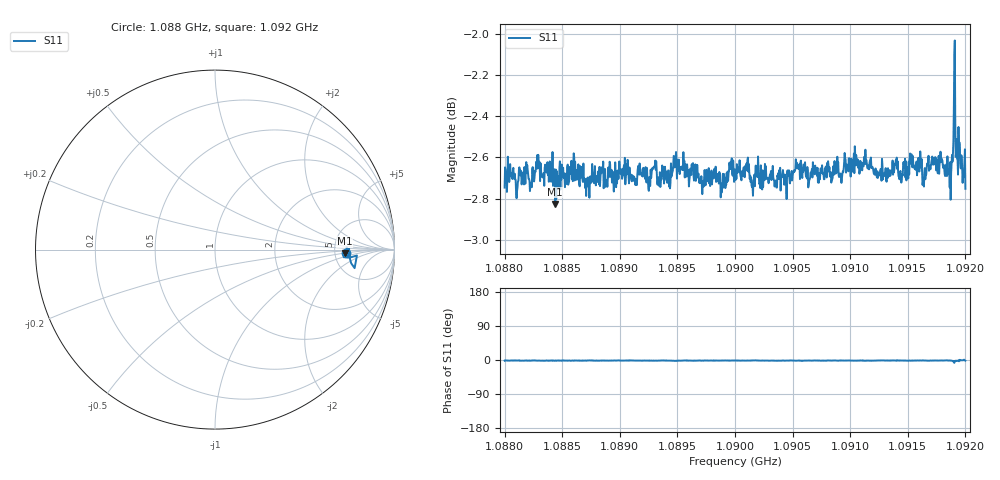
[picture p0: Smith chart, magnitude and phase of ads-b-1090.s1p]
! Calibrated averaged scanner-service zoom
# Hz S RI R 50
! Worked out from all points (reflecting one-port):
!   1001 points, 1.088 GHz to 1.092 GHz, reference 50 ohm
!   lowest |S11| = -2.8 dB at 1.08844 GHz (marker M1), VSWR 6.20, Z = 308 - j27.5 ohm
!   phase of S11 starts at -2 deg and turns -0 deg over the sweep
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1.088e9  0.7286 -0.0203
1.088236e9  0.7288 -0.0187
1.088284e9  0.742 -0.0219
1.08844e9  0.722 -0.0214
1.0885e9  0.7334 -0.0127
1.08872e9  0.7325 -0.0171
1.089e9  0.7356 -0.0192
1.089252e9  0.7274 -0.0178
1.0893e9  0.737 -0.0238
1.089384e9  0.7304 -0.0154
1.0895e9  0.7398 -0.0231
1.089564e9  0.733 -0.0117
1.089708e9  0.7332 -0.0244
1.09e9  0.7361 -0.0188
1.090176e9  0.7342 -0.011
1.09036e9  0.7285 -0.0248
1.0905e9  0.7337 -0.0181
1.09058e9  0.7341 -0.0289
1.091e9  0.7396 -0.0184
1.091184e9  0.7363 -0.029
1.091396e9  0.74 -0.0171
1.0915e9  0.7354 -0.0244
1.09184e9  0.7335 -0.0118
1.091872e9  0.7237 -0.0211
1.091884e9  0.7419 -0.0272
1.091908e9  0.7908 -0.033
1.091968e9  0.7418 -0.00872
1.092e9  0.7281 -0.0231
